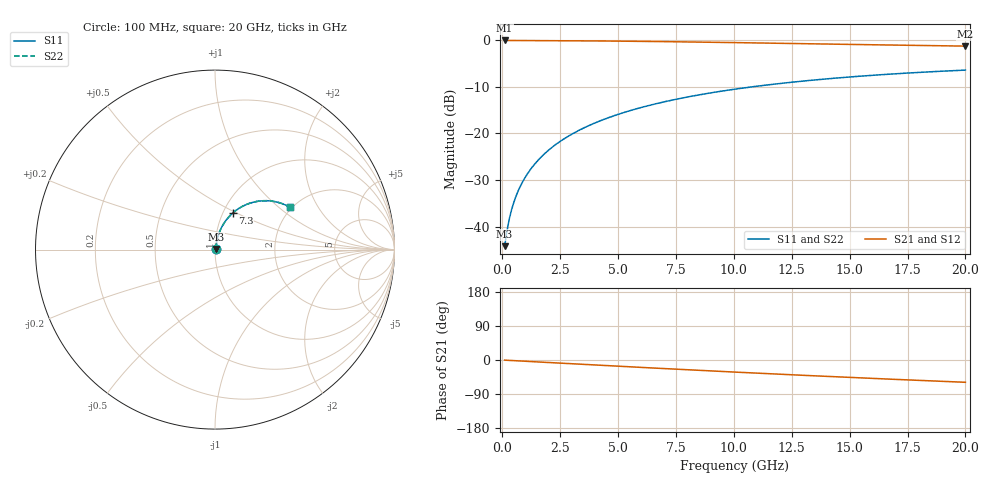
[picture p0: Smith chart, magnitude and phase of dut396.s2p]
! Touchstone file exported from HFSS 2026.1.0
!  File:  C:/ffzhzh/LocalFiles/Ansys_Project_Files/temp_train_TMRDL_396_1783004811_46388.aedt
!  Generated:  11:08:24 PM Jul  2, 2026
!  Design:  TMRDL
!  Project:  temp_train_TMRDL_396_1783004811_46388
! Variables:
!  h_bsmrdl = 2um
!  h_ox = 20um
!  h_rdl = 5um
!  h_sub = 80um
!  h_tmrdl = 2.75um
!  h_tsv = 80um
!  h_via = 3um
!  l_bsmrdl = 300um
!  l_sub = 1314.59um
!  l_tmrdl = 914.59um
!  m_sub = 200um
!  pitch = 52.21um
!  r_tsv = 6um
!  s_tmrdl = 10um
!  w_bsmrdl = 18um
!  w_sub = 500um
!  w_tmrdl = 24.99um
!  x_tsv_center1 = 927.085um
!  x_tsv_center2 = 1245.085um
!  x_tsv_center3 = 2184.665um
!  x_tsv_center4 = 2502.665um
!  x_tsv_center5 = 3442.245um
!  x_tsv_center6 = 3760.245um
# GHz S MA R 50.000000
! Terminal data exported
! Port[1] = TM_RDL1_1_T1
! Port[2] = TM_RDL1_1_T2
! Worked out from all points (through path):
!   200 points, 100 MHz to 20 GHz, reference 50 ohm
!   highest |S21| = -0.04 dB at 100 MHz (marker M1); lowest = -1.3 dB at 20 GHz (marker M2)
!   group delay of S21, straight-line fit = 8.18 ps
!   lowest |S11| = -44.2 dB at 100 MHz (marker M3), VSWR 1.01, Z = 50.5 + j0.368 ohm
!   |S11| at or under -10 dB: start of sweep to 10.79 GHz
!   |S22| runs from -44.2 to -6.4 dB; largest |S21 - S12| = 5.3e-15
!   S11 on the Smith chart (normalised r, x): 100 MHz: 1.01, +0.01; 7.3 GHz: 1.11, +0.48; 20 GHz: 1.94, +1.19
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0.1  0.006159 36.3  0.995 -0.4  0.995 -0.4  0.006159 36.3
! Gamma 0 0 0 0
! Port Impedance 50 0 50 0
0.2  0.008897 53.8  0.9948 -0.7  0.9948 -0.7  0.008897 53.8
0.3  0.01199 62.1  0.9945 -1.0  0.9945 -1.0  0.01199 62.1
0.4  0.01514 66.6  0.9942 -1.4  0.9942 -1.4  0.01514 66.6
0.5  0.01829 69.6  0.994 -1.7  0.994 -1.7  0.01829 69.6
0.6  0.02143 71.6  0.9938 -2.0  0.9938 -2.0  0.02143 71.6
0.8  0.02774 74.3  0.9934 -2.7  0.9934 -2.7  0.02774 74.3
1.1  0.03727 76.3  0.9929 -3.7  0.9929 -3.7  0.03727 76.3
1.3  0.04366 77.0  0.9925 -4.3  0.9925 -4.3  0.04366 77.0
1.6  0.05328 77.5  0.9919 -5.3  0.9919 -5.3  0.05328 77.5
2.1  0.06933 77.4  0.9908 -7.0  0.9908 -7.0  0.06932 77.4
2.7  0.08851 76.5  0.989 -8.9  0.989 -8.9  0.08851 76.5
3.5  0.1138 74.7  0.9861 -11.5  0.9861 -11.5  0.1138 74.8
4.2  0.1356 72.9  0.9831 -13.8  0.9831 -13.8  0.1356 73.0
5  0.1601 70.7  0.979 -16.4  0.979 -16.4  0.1601 70.8
6.8  0.2128 65.5  0.9681 -22.0  0.9681 -22.0  0.2128 65.5
7.3  0.2268 64.0  0.9646 -23.6  0.9646 -23.6  0.2268 64.1
8.6  0.2619 60.2  0.9551 -27.6  0.9551 -27.6  0.2619 60.3
10.1  0.2998 55.9  0.9433 -32.1  0.9433 -32.1  0.2998 55.9
13.4  0.373 46.7  0.9159 -41.5  0.9159 -41.5  0.3729 46.7
16.7  0.4322 37.9  0.8891 -50.4  0.8891 -50.4  0.4321 38.0
20  0.4783 29.7  0.8653 -58.8  0.8653 -58.8  0.4782 29.8
